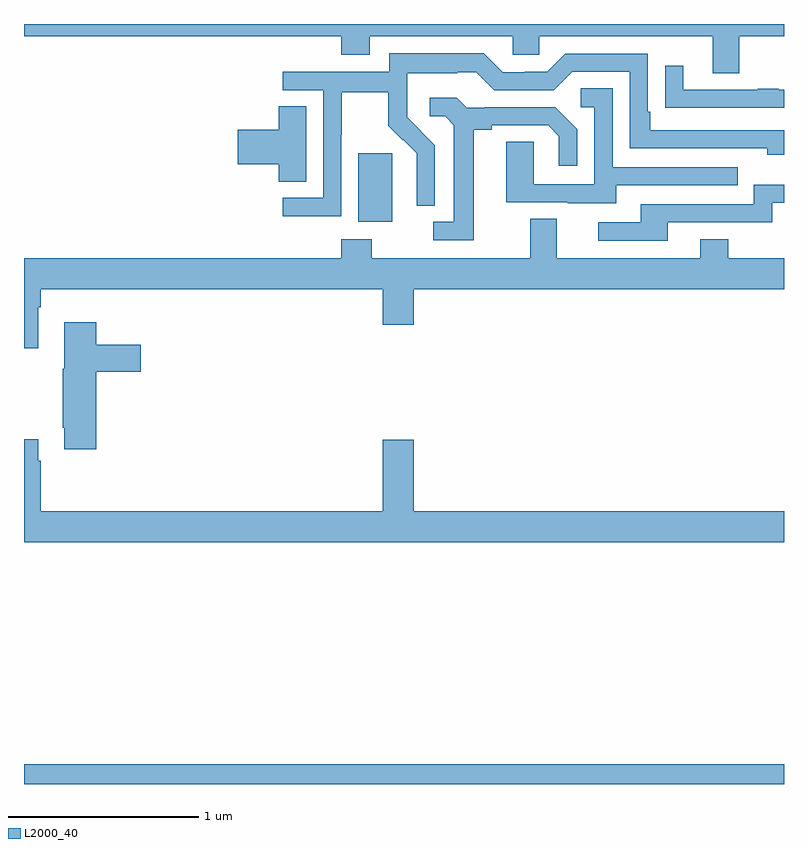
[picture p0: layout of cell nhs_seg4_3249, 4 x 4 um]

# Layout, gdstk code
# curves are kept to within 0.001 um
import gdstk
lib = gdstk.Library(unit=1e-6, precision=1e-09)
def R(c, l, rs):  # rectangles x0, y0, x1, y1
    for r in rs: c.add(gdstk.rectangle(r[:2], r[2:], *l))
def P(c, l, *ps):  # polygons
    for p in ps: c.add(gdstk.Polygon(p, *l))
L2000_40 = (2000, 40)

nhs_seg4_3249 = lib.new_cell('nhs_seg4_3249')
R(nhs_seg4_3249, L2000_40, [(283,776.9,287,777.004), (284.759,779.858,284.938,780.219)])
P(nhs_seg4_3249, L2000_40, [(286.765,780.836),(287,780.836),(287,780.9),(283,780.9),(283,780.836),(284.669,780.836),(284.669,780.737),(284.821,780.737),(284.821,780.836),(285.573,780.836),(285.573,780.738),(285.711,780.738),(285.711,780.836),(286.625,780.836),(286.625,780.642),(286.765,780.642)],
  [(284.67,780.316),(284.673,780.316),(284.673,780.54),(284.917,780.54),(284.917,780.365),(284.994,780.288),(284.997,780.291),(285.068,780.221),(285.068,780.098),(285.066,780.098),(285.066,779.944),(285.162,779.944),(285.162,780.262),(285.016,780.41),(285.016,780.507),(285.018,780.507),(285.018,780.641),(285.281,780.641),(285.281,780.645),(285.381,780.645),(285.474,780.552),(285.789,780.552),(285.885,780.648),(286.188,780.648),(286.188,780.246),(286.913,780.246),(286.913,780.212),(287,780.212),(287,780.342),(286.297,780.342),(286.297,780.439),(286.284,780.439),(286.284,780.744),(285.849,780.744),(285.753,780.648),(285.635,780.648),(285.635,780.645),(285.519,780.645),(285.419,780.745),(284.922,780.745),(284.922,780.648),(284.361,780.648),(284.361,780.552),(284.574,780.552),(284.574,779.985),(284.361,779.985),(284.361,779.887),(284.67,779.887)],
  [(287,780.555),(286.973,780.555),(286.973,780.56),(286.861,780.56),(286.861,780.555),(286.471,780.555),(286.471,780.679),(286.375,780.679),(286.375,780.46),(286.477,780.46),(286.477,780.459),(287,780.459)],
  [(286.117,780.051),(286.757,780.051),(286.757,780.147),(286.098,780.147),(286.098,780.563),(285.93,780.563),(285.93,780.462),(286.002,780.462),(286.002,780.057),(285.684,780.057),(285.684,780.281),(285.539,780.281),(285.539,779.961),(285.863,779.961),(285.863,779.957),(286.117,779.957)],
  [(285.367,780.344),(285.463,780.344),(285.463,780.366),(285.758,780.366),(285.815,780.309),(285.815,780.153),(285.912,780.153),(285.912,780.346),(285.796,780.462),(285.424,780.462),(285.424,780.459),(285.33,780.459),(285.278,780.511),(285.135,780.511),(285.135,780.414),(285.216,780.414),(285.263,780.367),(285.263,779.859),(285.153,779.859),(285.153,779.763),(285.367,779.763)],
  [(284.485,780.467),(284.342,780.467),(284.342,780.344),(284.124,780.344),(284.124,780.161),(284.342,780.161),(284.342,780.07),(284.485,780.07)],
  [(286.387,779.856),(286.938,779.856),(286.938,779.958),(287,779.958),(287,780.055),(286.842,780.055),(286.842,779.952),(286.247,779.952),(286.247,779.856),(286.023,779.856),(286.023,779.76),(286.387,779.76)],
  [(283.075,779.408),(283.088,779.408),(283.088,779.504),(284.888,779.504),(284.888,779.316),(285.052,779.316),(285.052,779.504),(287,779.504),(287,779.668),(286.707,779.668),(286.707,779.767),(286.559,779.767),(286.559,779.668),(285.805,779.668),(285.805,779.876),(285.665,779.876),(285.665,779.668),(284.829,779.668),(284.829,779.767),(284.669,779.767),(284.669,779.668),(283,779.668),(283,779.193),(283.075,779.193)],
  [(283.379,779.069),(283.615,779.069),(283.615,779.211),(283.379,779.211),(283.379,779.329),(283.211,779.329),(283.211,779.085),(283.204,779.085),(283.204,778.774),(283.211,778.774),(283.211,778.662),(283.379,778.662)],
  [(287,778.336),(285.052,778.336),(285.052,778.711),(284.888,778.711),(284.888,778.336),(283.088,778.336),(283.088,778.601),(283.075,778.601),(283.075,778.714),(283,778.714),(283,778.172),(287,778.172)])

lib.write_gds('nhs_seg4_3249.gds')
